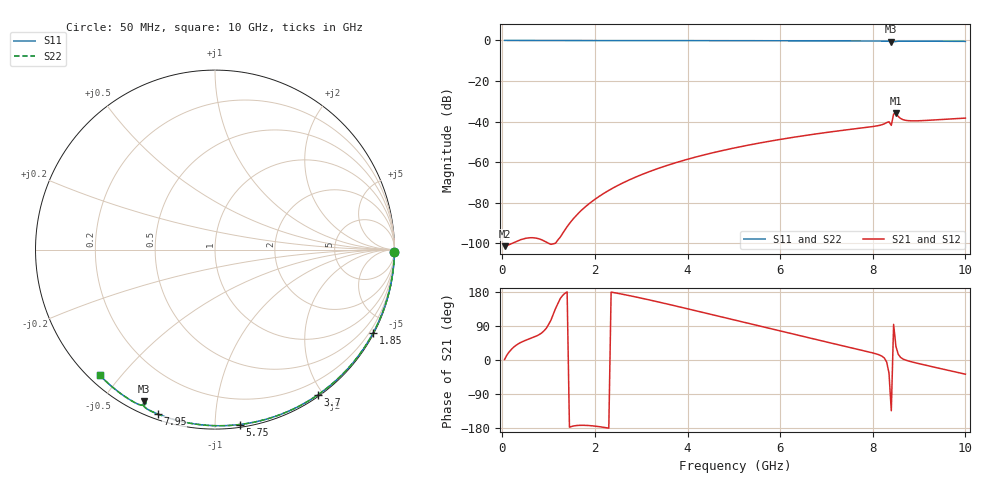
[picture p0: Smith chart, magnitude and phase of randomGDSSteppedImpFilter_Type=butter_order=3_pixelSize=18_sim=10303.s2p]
! freq	dB(S11)	phase(S11)	dB(S12)	phase(S12)
!  dB(S21)	phase(S21)	dB(S22)	phase(S22)
!S-par simulation data
#  GHz  S  DB  R 50
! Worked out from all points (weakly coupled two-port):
!   200 points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, 50 MHz to 10 GHz, reference 50 ohm
!   highest |S21| = -36.02 dB at 8.5 GHz (marker M1); lowest = -101.5 dB at 50 MHz (marker M2)
!   lowest |S11| = -0.6 dB at 8.4 GHz (marker M3), VSWR 28.57, Z = 2.46 - j31.8 ohm
!   |S11| at or under -10 dB: nowhere
!   |S22| runs from -0.6 to 0.0 dB; largest |S21 - S12| = 0
!   S11 on the Smith chart (normalised r, x): 50 MHz: open; 1.85 GHz: 0.04, -4.02; 3.7 GHz: 0.02, -1.94; 5.75 GHz: 0.02, -1.15; 7.95 GHz: 0.02, -0.71; 10 GHz: 0.03, -0.44
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0.05  -0.00 -0.8  -101.52 1.6  -101.52 1.6  -0.00 -0.8
0.9  -0.02 -13.7  -98.92 76.9  -98.92 76.9  -0.02 -13.7
1.75  -0.03 -26.4  -82.96 -172.3  -82.96 -172.3  -0.03 -26.4
1.85  -0.04 -27.9  -81.00 -172.8  -81.00 -172.8  -0.04 -27.9
1.9  -0.04 -28.7  -80.09 -173.2  -80.09 -173.2  -0.04 -28.7
2.25  -0.04 -33.8  -74.65 -178.8  -74.65 -178.8  -0.04 -33.8
2.65  -0.05 -39.6  -69.79 172.2  -69.79 172.2  -0.05 -39.6
3.4  -0.07 -50.3  -62.88 152.3  -62.88 152.3  -0.07 -50.3
3.7  -0.07 -54.5  -60.65 143.8  -60.65 143.8  -0.07 -54.5
4.35  -0.09 -63.5  -56.51 124.9  -56.51 124.9  -0.09 -63.5
5.05  -0.11 -72.9  -52.87 104.3  -52.87 104.3  -0.11 -72.9
5.75  -0.14 -82.0  -49.82 83.7  -49.82 83.7  -0.14 -82.0
6.7  -0.18 -93.9  -46.36 56.2  -46.36 56.2  -0.18 -93.9
7.95  -0.26 -109.3  -42.65 20.2  -42.65 20.2  -0.26 -109.2
8.15  -0.29 -111.8  -41.88 13.0  -41.88 13.0  -0.29 -111.8
8.35  -0.43 -114.9  -40.14 -34.2  -40.14 -34.2  -0.44 -114.9
8.4  -0.61 -115.0  -41.90 -133.9  -41.90 -133.9  -0.61 -115.0
8.45  -0.60 -114.3  -36.32 94.0  -36.32 94.0  -0.60 -114.2
8.5  -0.47 -114.2  -36.02 35.7  -36.02 35.7  -0.47 -114.2
8.6  -0.35 -115.8  -38.50 6.9  -38.50 6.9  -0.35 -115.8
8.8  -0.33 -118.5  -39.64 -3.6  -39.64 -3.6  -0.33 -118.5
10  -0.45 -132.6  -38.32 -37.4  -38.32 -37.4  -0.45 -132.6
